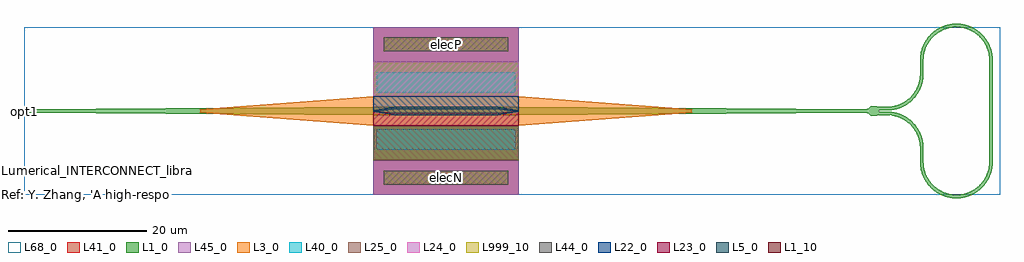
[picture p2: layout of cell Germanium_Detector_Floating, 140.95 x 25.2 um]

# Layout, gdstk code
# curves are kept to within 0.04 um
from math import pi, radians
import gdstk
lib = gdstk.Library(unit=1e-6, precision=1e-09)
def R(c, l, rs):  # rectangles x0, y0, x1, y1
    for r in rs: c.add(gdstk.rectangle(r[:2], r[2:], *l))
def P(c, l, *ps):  # polygons
    for p in ps: c.add(gdstk.Polygon(p, *l))
L1_0 = (1, 0)
L1_10 = (1, 10)
L3_0 = (3, 0)
L5_0 = (5, 0)
L22_0 = (22, 0)
L23_0 = (23, 0)
L24_0 = (24, 0)
L25_0 = (25, 0)
L40_0 = (40, 0)
L41_0 = (41, 0)
L44_0 = (44, 0)
L45_0 = (45, 0)
L68_0 = (68, 0)
L999_10 = (999, 10)

compact_ybranch = lib.new_cell('Compact_YBranch')
R(compact_ybranch, L1_0, [(-0.25,-0.1,0.25,0), (-0.6,2,-0.1,2.2), (0.1,2,0.6,2.2)])
P(compact_ybranch, L1_0, [(-0.683,0.923),(-0.702,1.48),(-0.6,2),(0.6,2),(0.702,1.48),(0.683,0.923)],
  [(-0.264,0.225),(-0.395,0.596),(-0.683,0.923),(0.683,0.923),(0.395,0.596),(0.264,0.225)],
  [(-0.25,0),(-0.264,0.225),(0.264,0.225),(0.25,0)])

highrdet_15_np_1_25_loop = lib.new_cell('HighRDet_15_Np_1_25_LoopMirror')
R(highrdet_15_np_1_25_loop, L1_0, [(129.35,-7.35,129.85,-5.35), (139.35,-7.35,139.85,7.35), (50.4,-7.125,71.4,-2.125), (50.4,-0.625,71.4,0.625), (123.6,-0.6,124.6,-0.1), (0,-0.25,0.4,0.25), (123.6,0.1,124.6,0.6), (50.4,2.125,71.4,7.125), (129.35,5.35,129.85,7.35)])
P(highrdet_15_np_1_25_loop, L1_0, [(124.6,0.1),(124.6,0.6),(125.541,0.694),(126.39,0.95),(127.227,1.392),(127.917,1.949),(128.525,2.674),(128.954,3.45),(129.244,4.351),(129.35,5.35),(129.85,5.35),(129.755,4.358),(129.45,3.341),(129.02,2.517),(128.359,1.685),(127.599,1.041),(126.609,0.5),(125.592,0.195)],
  [(124.6,0.1),(125.461,0.171),(125.329,0.151),(125.263,0.142),(125.197,0.134),(125.131,0.127),(124.999,0.115),(124.932,0.111),(124.866,0.107),(124.799,0.104),(124.733,0.102),(124.666,0.1)],
  [(129.863,7.705),(129.365,7.749),(129.571,8.858),(130.076,10.013),(130.841,11.015),(131.601,11.659),(132.591,12.2),(133.608,12.505),(134.6,12.6),(134.6,12.1),(133.601,11.994),(132.7,11.704),(131.924,11.275),(131.199,10.667),(130.675,10.026),(130.27,9.304),(129.982,8.465)],
  [(129.35,7.35),(129.365,7.749),(129.863,7.705),(129.85,7.35)],
  [(139.337,7.705),(139.218,8.465),(138.93,9.304),(138.525,10.026),(138.001,10.667),(137.276,11.275),(136.5,11.704),(135.599,11.994),(134.6,12.1),(134.6,12.6),(135.592,12.505),(136.609,12.2),(137.599,11.659),(138.359,11.015),(139.124,10.013),(139.629,8.858),(139.835,7.749)],
  [(139.35,7.35),(139.337,7.705),(139.835,7.749),(139.85,7.35)],
  [(134.6,-12.6),(134.6,-12.1),(135.541,-12.006),(136.39,-11.75),(137.227,-11.308),(137.917,-10.751),(138.525,-10.026),(138.954,-9.25),(139.244,-8.349),(139.35,-7.35),(139.85,-7.35),(139.755,-8.342),(139.45,-9.359),(139.02,-10.183),(138.359,-11.015),(137.599,-11.659),(136.609,-12.2),(135.592,-12.505)],
  [(134.6,-12.6),(135.461,-12.529),(135.329,-12.549),(135.263,-12.558),(135.197,-12.566),(135.131,-12.573),(134.999,-12.585),(134.932,-12.589),(134.866,-12.593),(134.799,-12.596),(134.733,-12.598),(134.666,-12.6)],
  [(134.6,-12.6),(133.608,-12.505),(132.591,-12.2),(131.767,-11.77),(130.935,-11.109),(130.291,-10.349),(129.75,-9.359),(129.445,-8.342),(129.35,-7.35),(129.85,-7.35),(129.944,-8.291),(130.2,-9.14),(130.642,-9.977),(131.199,-10.667),(131.924,-11.275),(132.7,-11.704),(133.601,-11.994),(134.6,-12.1)],
  [(134.534,-12.6),(134.467,-12.598),(134.401,-12.596),(134.334,-12.593),(134.268,-12.589),(134.201,-12.585),(134.069,-12.573),(134.003,-12.566),(133.937,-12.558),(133.871,-12.549),(133.739,-12.529),(134.6,-12.6)],
  [(129.337,-4.995),(129.218,-4.235),(128.93,-3.396),(128.525,-2.674),(128.001,-2.033),(127.276,-1.425),(126.5,-0.996),(125.599,-0.706),(124.6,-0.6),(124.6,-0.1),(125.592,-0.195),(126.609,-0.5),(127.599,-1.041),(128.359,-1.685),(129.124,-2.687),(129.629,-3.842),(129.835,-4.951)],
  [(129.35,-5.35),(129.337,-4.995),(129.835,-4.951),(129.85,-5.35)],
  [(71.4,-0.625),(71.4,0.625),(121.4,0.25),(121.4,-0.25)],
  [(50.4,-0.625),(0.4,-0.25),(0.4,0.25),(50.4,0.625)])
R(highrdet_15_np_1_25_loop, L3_0, [(50.4,-2.125,71.4,2.125)])
P(highrdet_15_np_1_25_loop, L3_0, [(71.4,-2.125),(71.4,2.125),(96.4,0.25),(96.4,-0.25)],
  [(50.4,-2.125),(25.4,-0.25),(25.4,0.25),(50.4,2.125)])
P(highrdet_15_np_1_25_loop, L5_0, [(53.4,-0.625),(50.4,-0.1),(50.4,0.1),(53.4,0.625),(68.4,0.625),(71.4,0.1),(71.4,-0.1),(68.4,-0.625)])
R(highrdet_15_np_1_25_loop, L22_0, [(50.4,0.625,71.4,2.125)])
P(highrdet_15_np_1_25_loop, L22_0, [(50.4,0),(50.4,2.125),(71.4,2.125),(71.4,0),(70.4,0),(68.4,0.275),(53.4,0.275),(51.4,0)])
R(highrdet_15_np_1_25_loop, L23_0, [(50.4,-2.125,71.4,-0.625)])
P(highrdet_15_np_1_25_loop, L23_0, [(50.4,-2.125),(50.4,0),(51.4,0),(53.4,-0.275),(68.4,-0.275),(70.4,0),(71.4,0),(71.4,-2.125)])
R(highrdet_15_np_1_25_loop, L24_0, [(50.4,2.125,71.4,7.125)])
R(highrdet_15_np_1_25_loop, L25_0, [(50.4,-7.125,71.4,-2.125)])
R(highrdet_15_np_1_25_loop, L40_0, [(50.9,-5.625,70.9,-2.625), (50.9,2.625,70.9,5.625)])
R(highrdet_15_np_1_25_loop, L41_0, [(50.4,-12.125,71.4,-2.125), (50.4,2.125,71.4,12.125)])
R(highrdet_15_np_1_25_loop, L44_0, [(51.9,-10.625,69.9,-8.625), (51.9,8.625,69.9,10.625)])
R(highrdet_15_np_1_25_loop, L45_0, [(50.4,-12.125,71.4,-7.125), (50.4,7.125,71.4,12.125)])
highrdet_15_np_1_25_loop.add(gdstk.Reference(compact_ybranch, (121.4,0), rotation=3*pi/2))

germanium_detector_float = lib.new_cell('Germanium_Detector_Floating')
R(germanium_detector_float, L68_0, [(0,-12.125,140.9,12.125)])
R(germanium_detector_float, L999_10, [(51.9,-10.625,69.9,-8.625), (51.9,8.625,69.9,10.625)])
germanium_detector_float.add(gdstk.FlexPath([(0.05,0),(-0.05,0)], 0.5, ends="flush", simple_path=True, layer=1, datatype=10))  # L1_10
germanium_detector_float.add(gdstk.Reference(highrdet_15_np_1_25_loop, (0,0)))
germanium_detector_float.add(gdstk.Label('Lumerical_INTERCONNECT_library=Design kits/GSiP', (0,-8.625), layer=68, texttype=0))
germanium_detector_float.add(gdstk.Label('opt1', (0,0), layer=1, texttype=10))
germanium_detector_float.add(gdstk.Label("Ref: Y. Zhang, 'A high-responsivity photodetector absent metal-germanium direct contact',\nOpt. Exp., 2014, https://doi.org/10.1364/OE.22.011367", (0,-12.125), layer=66, texttype=0))
germanium_detector_float.add(gdstk.Label('elecN', (60.9,-9.625), layer=999, texttype=10))
germanium_detector_float.add(gdstk.Label('elecP', (60.9,9.625), layer=999, texttype=10))

lib.write_gds('Germanium_Detector_Floating.gds')
